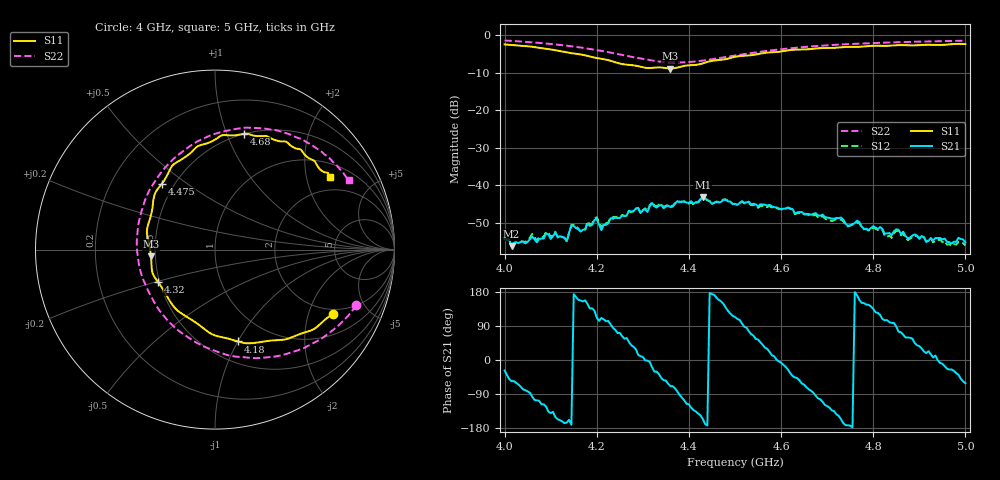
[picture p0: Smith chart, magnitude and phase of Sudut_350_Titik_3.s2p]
# Hz S RI R 50
! CMT, C1220, 16058040, 17.2.0/1
! Date: 15/08/2018 12:42:38
! Data: Format (Calibration Info)
! Freq  S11: Re/Im (F2)  S21: Re/Im (F2)  S12: Re/Im (F2)  S22: Re/Im (F2)
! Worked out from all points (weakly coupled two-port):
!   201 points, 4 GHz to 5 GHz, reference 50 ohm
!   highest |S21| = -43.12 dB at 4.43 GHz (marker M1); lowest = -56.2 dB at 4.015 GHz (marker M2)
!   lowest |S11| = -8.9 dB at 4.36 GHz (marker M3), VSWR 2.12, Z = 23.7 - j1.99 ohm
!   |S11| at or under -10 dB: nowhere
!   |S22| runs from -7.3 to -1.5 dB; largest |S21 - S12| = 0.00035
!   S11 on the Smith chart (normalised r, x): 4 GHz: 1.80, -2.93; 4.18 GHz: 0.71, -1.00; 4.32 GHz: 0.49, -0.20; 4.475 GHz: 0.43, +0.41; 4.68 GHz: 0.50, +1.15; 5 GHz: 1.45, +2.75
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4e9  0.659 -0.3573  0.0017 -0.000896  0.00175 -0.000838  0.7868 -0.311
4.015e9  0.6318 -0.3752  0.000873 -0.00129  0.000979 -0.00125  0.7616 -0.3453
4.09e9  0.4416 -0.4831  -0.00125 -0.00192  -0.00131 -0.00202  0.5883 -0.4988
4.135e9  0.2919 -0.5094  -0.00175 -0.000475  -0.00172 -0.000498  0.4426 -0.5668
4.145e9  0.2519 -0.5146  -0.0029 -0.000462  -0.00294 -0.000545  0.4055 -0.579
4.17e9  0.1604 -0.5202  -0.00233 0.0011  -0.00242 0.00101  0.3105 -0.5985
4.18e9  0.1273 -0.5119  -0.00263 0.00168  -0.00285 0.00169  0.2687 -0.602
4.2e9  0.0539 -0.4912  -0.00133 0.00329  -0.00157 0.00345  0.1837 -0.602
4.21e9  0.016 -0.4832  -0.000908 0.00237  -0.000958 0.00257  0.1398 -0.5985
4.23e9  -0.0484 -0.4505  -0.000276 0.00366  -0.000238 0.0038  0.0495 -0.5813
4.31e9  -0.2918 -0.2174  0.00443 -0.000133  0.00457 -3.5e-05  -0.2777 -0.3783
4.32e9  -0.3185 -0.1803  0.00553 -0.00189  0.00568 -0.00177  -0.3102 -0.3384
4.335e9  -0.348 -0.1304  0.00428 -0.00325  0.00444 -0.00338  -0.3496 -0.2727
4.36e9  -0.3566 -0.0367  0.00183 -0.0048  0.00177 -0.00503  -0.4041 -0.1579
4.43e9  -0.3484 0.2319  -0.00635 -0.00292  -0.00625 -0.00283  -0.4171 0.1855
4.475e9  -0.2964 0.3681  -0.00542 0.0034  -0.00542 0.00363  -0.3408 0.3702
4.5e9  -0.2504 0.4471  -0.00228 0.00522  -0.00214 0.00527  -0.2814 0.4527
4.67e9  0.1414 0.6416  0.000262 -0.00418  0.000179 -0.00398  0.2016 0.679
4.68e9  0.16 0.6459  -0.000773 -0.00394  -0.000735 -0.00371  0.2287 0.6777
4.835e9  0.447 0.5647  -0.000397 0.0023  -0.000427 0.00211  0.5471 0.5776
4.85e9  0.4704 0.5602  9.09e-05 0.00261  2.28e-05 0.00251  0.5719 0.56
5e9  0.6391 0.4053  0.000838 -0.00153  0.000806 -0.00138  0.7445 0.3864
